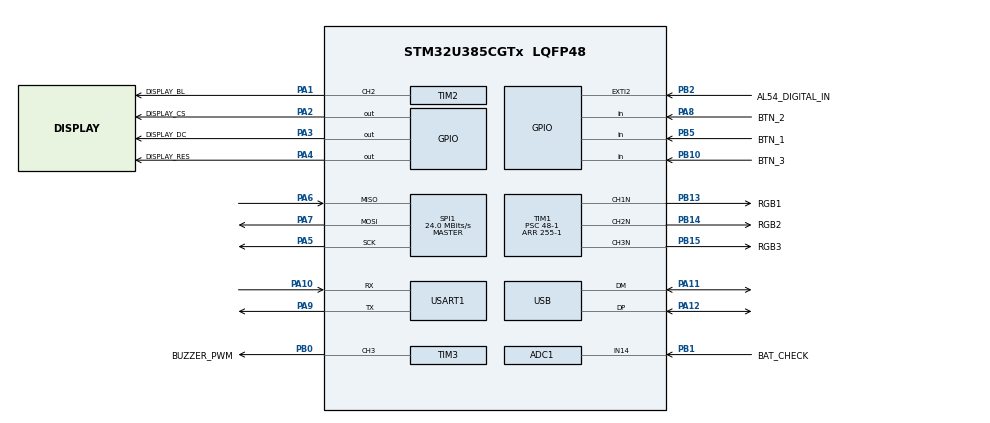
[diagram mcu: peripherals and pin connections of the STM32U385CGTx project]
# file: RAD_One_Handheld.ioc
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ADC1.Channel-0\#ChannelRegularConversion=ADC_CHANNEL_14
ADC1.ContinuousConvMode=ENABLE
ADC1.MonitoredBy-0\#ChannelRegularConversion=__NULL
ADC1.NbrOfConversionFlag=1
ADC1.OffsetNumber-0\#ChannelRegularConversion=ADC_OFFSET_NONE
ADC1.Overrun=ADC_OVR_DATA_OVERWRITTEN
ADC1.Rank-0\#ChannelRegularConversion=1
ADC1.SamplingTime-0\#ChannelRegularConversion=ADC_SAMPLETIME_246CYCLES_5
ADC1.master=1
CORTEX_M33_NS.userName=CORTEX_M33
GPDMA1.DIRECTION_GPDMACH0=DMA_MEMORY_TO_PERIPH
GPDMA1.IPHANDLE_GPDMACH0-SIMPLEREQUEST_GPDMACH0=__NULL
GPDMA1.REQUEST_GPDMACH0=GPDMA1_REQUEST_SPI1_TX
GPDMA1.SRCINC_GPDMACH0=DMA_SINC_INCREMENTED
Mcu.Family=STM32U3
Mcu.Name=STM32U385CGTx
Mcu.Package=LQFP48
NVIC.EXTI2_IRQn=true\:0\:0\:false\:false\:true\:false\:true\:true\:true
NVIC.GPDMA1_Channel0_IRQn=true\:0\:0\:false\:false\:true\:true\:false\:true\:true
NVIC.PriorityGroup=NVIC_PRIORITYGROUP_4
NVIC.SPI1_IRQn=true\:0\:0\:false\:false\:true\:false\:false\:true\:true
NVIC.TIM6_IRQn=true\:15\:0\:false\:false\:true\:false\:false\:true\:true
NVIC.TimeBase=TIM6_IRQn
NVIC.TimeBaseIP=TIM6
NVIC.USART1_IRQn=true\:0\:0\:false\:false\:true\:false\:true\:true\:true
PA1.GPIO_Label=DISPLAY_BL
PA1.Signal=S_TIM2_CH2
PA10.Mode=Asynchronous
PA10.Signal=USART1_RX
PA11.Mode=Device
PA11.Signal=USB_DM
PA12.Mode=Device
PA12.Signal=USB_DP
PA13\ (JTMS/SWDIO).Mode=Serial_Wire
PA13\ (JTMS/SWDIO).Signal=DEBUG_JTMS-SWDIO
PA14\ (JTCK/SWCLK).Mode=Serial_Wire
PA14\ (JTCK/SWCLK).Signal=DEBUG_JTCK-SWCLK
PA2.GPIO_Label=DISPLAY_CS
PA2.Signal=GPIO_Output
PA3.GPIO_Label=DISPLAY_DC
PA3.Signal=GPIO_Output
PA4.GPIO_Label=DISPLAY_RES
PA4.GPIO_PuPd=GPIO_PULLUP
PA4.PinState=GPIO_PIN_SET
PA4.Signal=GPIO_Output
PA5.Mode=Full_Duplex_Master
PA5.Signal=SPI1_SCK
PA6.Mode=Full_Duplex_Master
PA6.Signal=SPI1_MISO
PA7.Mode=Full_Duplex_Master
PA7.Signal=SPI1_MOSI
PA8.GPIO_Label=BTN_2
PA8.GPIO_PuPd=GPIO_PULLUP
PA8.Signal=GPIO_Input
PA9.Mode=Asynchronous
PA9.Signal=USART1_TX
PB0.GPIO_Label=BUZZER_PWM
PB0.Signal=S_TIM3_CH3
PB1.GPIO_Label=BAT_CHECK
PB1.Mode=IN14-Single-Ended
PB1.Signal=ADC1_IN14
PB10.GPIO_Label=BTN_3
PB10.GPIO_PuPd=GPIO_PULLUP
PB10.Signal=GPIO_Input
PB13.GPIO_Label=RGB1
PB13.Mode=PWM Generation1 CH1N
PB13.Signal=TIM1_CH1N
PB14.GPIO_Label=RGB2
PB14.Mode=PWM Generation2 CH2N
PB14.Signal=TIM1_CH2N
PB15.GPIO_Label=RGB3
PB15.Mode=PWM Generation3 CH3N
PB15.Signal=TIM1_CH3N
PB2.GPIO_Label=AL54_DIGITAL_IN
PB2.GPIO_ModeDefaultEXTI=GPIO_MODE_IT_RISING
PB2.GPIO_PuPd=GPIO_PULLDOWN
PB2.Signal=GPXTI2
PB5.GPIO_Label=BTN_1
PB5.GPIO_PuPd=GPIO_PULLUP
PB5.Signal=GPIO_Input
PH0-OSC_IN\ (PH0).Mode=HSE-External-Oscillator
PH0-OSC_IN\ (PH0).Signal=RCC_OSC_IN
PH1-OSC_OUT\ (PH1).Mode=HSE-External-Oscillator
PH1-OSC_OUT\ (PH1).Signal=RCC_OSC_OUT
ProjectManager.HeapSize=0x200
ProjectManager.StackSize=0x400
ProjectManager.TargetToolchain=STM32CubeIDE
RCC.ADCFreq_Value=48000000
RCC.AHBFreq_Value=48000000
RCC.APB1Freq_Value=48000000
RCC.APB1TimFreq_Value=48000000
RCC.APB2Freq_Value=48000000
RCC.APB2TimFreq_Value=48000000
RCC.APB3Freq_Value=48000000
RCC.CortexFreq_Value=6000000
RCC.HCLKFreq_Value=48000000
RCC.HSE_VALUE=48000000
RCC.HSI48_VALUE=48000000
RCC.HSI_VALUE=16000000
RCC.LSE_VALUE=32768
RCC.LSIDIV_VALUE=32000
RCC.MSISDIV=RCC_MSI_DIV2
RCC.SYSCLKFreq_VALUE=48000000
RCC.USBFreq_Value=48000000
SH.S_TIM2_CH2.0=TIM2_CH2,PWM Generation2 CH2
SH.S_TIM3_CH3.0=TIM3_CH3,PWM Generation3 CH3
SPI1.CalculateBaudRate=24.0 MBits/s
SPI1.DataSize=SPI_DATASIZE_8BIT
SPI1.Direction=SPI_DIRECTION_2LINES
SPI1.MasterKeepIOState=SPI_MASTER_KEEP_IO_STATE_ENABLE
SPI1.Mode=SPI_MODE_MASTER
SPI1.NSSPMode=SPI_NSS_PULSE_DISABLE
SPI1.VirtualType=VM_MASTER
THREADX.TX_APP_GENERATE_INIT_CODE=true
THREADX.TX_APP_MEM_POOL_SIZE=40960
THREADX.TX_MINIMUM_STACK=1024
THREADX.TX_TIMER_PROCESS_IN_ISR=1
THREADX.TX_TIMER_TICKS_PER_SECOND=1000
TIM1.AutomaticOutput=TIM_AUTOMATICOUTPUT_ENABLE
TIM1.Channel-PWM\ Generation1\ CH1N=TIM_CHANNEL_1
TIM1.Channel-PWM\ Generation2\ CH2N=TIM_CHANNEL_2
TIM1.Channel-PWM\ Generation3\ CH3N=TIM_CHANNEL_3
TIM1.PeriodNoDither=255-1
TIM1.Prescaler=48-1
TIM2.AutoReloadPreload=TIM_AUTORELOAD_PRELOAD_ENABLE
TIM2.Channel-PWM\ Generation2\ CH2=TIM_CHANNEL_2
TIM2.PeriodNoDither=999
TIM2.Prescaler=48-1
TIM3.Channel-PWM\ Generation3\ CH3=TIM_CHANNEL_3
TIM3.OCPolarity_3=TIM_OCPOLARITY_LOW
TIM3.PeriodNoDither=500-1
TIM3.Prescaler=48-1
USART1.VirtualMode-Asynchronous=VM_ASYNC
USB.VirtualMode=Device_Only
USBX.Core_System=1
USBX.USBD_CDCACM_EPIN_ADDR=2
USBX.USBD_CDCACM_EPOUT_ADDR=3
USBX.USBX_DEVICE_APP_THREAD_Size=2048
USBX.USBX_DEVICE_SYS_SIZE=10240
USBX.UX_DEVICE_APP_MEM_POOL_SIZE=40960
USBX.UX_DEVICE_CDC_ACM=1
USBX.UX_Device_CoreStack=1
VP_GPDMA1_VS_GPDMACH0.Mode=SIMPLEREQUEST_GPDMACH0
VP_ICACHE_VS_ICACHE.Mode=DefaultMode
VP_MEMORYMAP_VS_MEMORYMAP.Mode=CurAppReg
VP_PWR_VS_DBSignals.Mode=DisableDeadBatterySignals
VP_PWR_VS_LPOM.Mode=PowerOptimisation
VP_PWR_VS_SECSignals.Mode=Security/Privilege
VP_SYS_VS_tim6.Mode=TIM6
VP_THREADX_VS_RTOSJjThreadXJjCoreJjDefault.Mode=Core_Default
VP_USBX_Core_System.Mode=Core_System
VP_USBX_UX\ Device\ CDC\ ACM\ Class_FS.Mode=UX_Device_class_CDC_ACM_FS
VP_USBX_UX\ Device\ CoreStack_FS.Mode=UX_Device_CoreStack_FS
board=custom

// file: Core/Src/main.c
/* USER CODE BEGIN Header */
/**
  ******************************************************************************
  * @file           : main.c
  * @brief          : Main program body
  ******************************************************************************
  * @attention
  *
  * Copyright (c) 2026 STMicroelectronics.
  * All rights reserved.
  *
  * This software is licensed under terms that can be found in the LICENSE file
  * in the root directory of this software component.
  * If no LICENSE file comes with this software, it is provided AS-IS.
  *
  ******************************************************************************
  */
/* USER CODE END Header */
#include "app_threadx.h"
#include "main.h"
#include "adc.h"
#include "gpdma.h"
#include "icache.h"
#include "spi.h"
#include "tim.h"
#include "usart.h"
#include "usb.h"
#include "gpio.h"

/* USER CODE BEGIN Includes */
#include "st7789.h"
#include "fonts.h"
#include "gfx_fonts.h"
#include "debug.h"
#include "battery.h"
/* USER CODE END Includes */

/* USER CODE BEGIN PD */
#define BAT_CRITICAL_VOLTAGE   3.0f   /* V - below this: refuse to boot */
#define BAT_ADC_SAMPLES        8      /* average N samples for accuracy  */
/* USER CODE END PD */

void SystemClock_Config(void);
/* USER CODE BEGIN PFP */
static float battery_read_voltage(void);
static void  show_low_battery_screen(float voltage);
/* USER CODE END PFP */

/* USER CODE BEGIN 0 */

/* ==========================================================================
 * Read battery voltage before kernel starts
 * ADC1 CH14 on PB1, 1:2 resistor divider, VREF=3.3V
 * ========================================================================== */
static float battery_read_voltage(void)
{
    uint32_t sum = 0;
    HAL_ADC_Start(&hadc1);
    for (int i = 0; i < BAT_ADC_SAMPLES; i++) {
        HAL_ADC_PollForConversion(&hadc1, 10);
        sum += HAL_ADC_GetValue(&hadc1);
    }
    HAL_ADC_Stop(&hadc1);
    float avg = (float)sum / BAT_ADC_SAMPLES;
    return (avg / 4095.0f) * 3.3f * 2.0f;
}

/* ==========================================================================
 * Show low battery warning and halt
 * ========================================================================== */
static void show_low_battery_screen(float voltage)
{
#if RADONE_DEBUG
    (void)voltage;
    return;
#endif

    HAL_TIM_PWM_Start(&htim2, TIM_CHANNEL_2);
    __HAL_TIM_SET_COMPARE(&htim2, TIM_CHANNEL_2, 800);

    ST7789_InitBlocking();

    /* Warning symbol - red box with ! */
    ST7789_FillRect_blocking(90, 10, 60, 50, ST7789_RED);
    ST7789_DrawGFXString(111, 52, "!", ST7789_WHITE, ST7789_RED, &FreeSansBold24pt7b);

    /* LOW BATTERY */
    ST7789_DrawGFXString(10, 145, "LOW", ST7789_RED, ST7789_BLACK, &FreeSansBold24pt7b);
    ST7789_DrawGFXString(10, 185, "BATTERY", ST7789_RED, ST7789_BLACK, &FreeSansBold24pt7b);

    /* Voltage */
    char buf[16];
    snprintf(buf, sizeof(buf), "%.2fV", voltage);
    ST7789_DrawGFXString(55, 230, buf, ST7789_WHITE, ST7789_BLACK, &FreeSansBold18pt7b);

    /* Hint */
    ST7789_DrawString(22, 252, "Please charge (>3.0V)", ST7789_LIGHTGRAY, ST7789_BLACK, &Font_8x8);

    /* Halt forever - do not boot */
    while (1) {
        __WFI();
    }
}

/* USER CODE END 0 */

int main(void)
{

  /* MCU Configuration--------------------------------------------------------*/

  HAL_Init();

  /* Configure the system clock */
  SystemClock_Config();

  /* Initialize all configured peripherals */
  MX_GPIO_Init();
  MX_GPDMA1_Init();
  MX_SPI1_Init();
  MX_TIM2_Init();
  MX_TIM3_Init();
  MX_USART1_UART_Init();
  MX_USB_PCD_Init();
  MX_ADC1_Init();
  MX_TIM1_Init();
  MX_ICACHE_Init();

  /* USER CODE BEGIN 2 */

  /* ------------------------------------------------------------------
   * Battery check - must happen before ThreadX starts
   * If battery is critically low, show warning and halt.
   * ------------------------------------------------------------------ */
  float vbat = battery_read_voltage();
  if (vbat < BAT_CRITICAL_VOLTAGE) {
      show_low_battery_screen(vbat);
      /* never returns */
  }

  /* USER CODE END 2 */

  MX_ThreadX_Init();

  /* We should never get here as control is now taken by the scheduler */

  /* Infinite loop */
  while (1)
  {

  }
}

void SystemClock_Config(void)
{
  RCC_OscInitTypeDef RCC_OscInitStruct = {0};
  RCC_ClkInitTypeDef RCC_ClkInitStruct = {0};

  if (HAL_RCCEx_EpodBoosterClkConfig(RCC_EPODBOOSTER_SOURCE_MSIS, RCC_EPODBOOSTER_DIV1) != HAL_OK)
  {
    Error_Handler();
  }
  if (HAL_PWREx_EnableEpodBooster() != HAL_OK)
  {
    Error_Handler();
  }
  if (HAL_PWREx_ControlVoltageScaling(PWR_REGULATOR_VOLTAGE_SCALE2) != HAL_OK)
  {
    Error_Handler();
  }
  __HAL_FLASH_SET_LATENCY(FLASH_LATENCY_2);

  RCC_OscInitStruct.OscillatorType = RCC_OSCILLATORTYPE_MSIS;
  RCC_OscInitStruct.MSISState = RCC_MSI_ON;
  RCC_OscInitStruct.MSISSource = RCC_MSI_RC0;
  RCC_OscInitStruct.MSISDiv = RCC_MSI_DIV2;
  if (HAL_RCC_OscConfig(&RCC_OscInitStruct) != HAL_OK)
  {
    Error_Handler();
  }

  RCC_ClkInitStruct.ClockType = RCC_CLOCKTYPE_HCLK|RCC_CLOCKTYPE_SYSCLK
                              |RCC_CLOCKTYPE_PCLK1|RCC_CLOCKTYPE_PCLK2
                              |RCC_CLOCKTYPE_PCLK3;
  RCC_ClkInitStruct.SYSCLKSource = RCC_SYSCLKSOURCE_MSIS;
  RCC_ClkInitStruct.AHBCLKDivider = RCC_SYSCLK_DIV1;
  RCC_ClkInitStruct.APB1CLKDivider = RCC_HCLK_DIV1;
  RCC_ClkInitStruct.APB2CLKDivider = RCC_HCLK_DIV1;
  RCC_ClkInitStruct.APB3CLKDivider = RCC_HCLK_DIV1;

  if (HAL_RCC_ClockConfig(&RCC_ClkInitStruct, FLASH_LATENCY_2) != HAL_OK)
  {
    Error_Handler();
  }
}

void HAL_TIM_PeriodElapsedCallback(TIM_HandleTypeDef *htim)
{
  if (htim->Instance == TIM6)
  {
    HAL_IncTick();
  }
}

void Error_Handler(void)
{
  __disable_irq();
  while (1)
  {
  }
}
